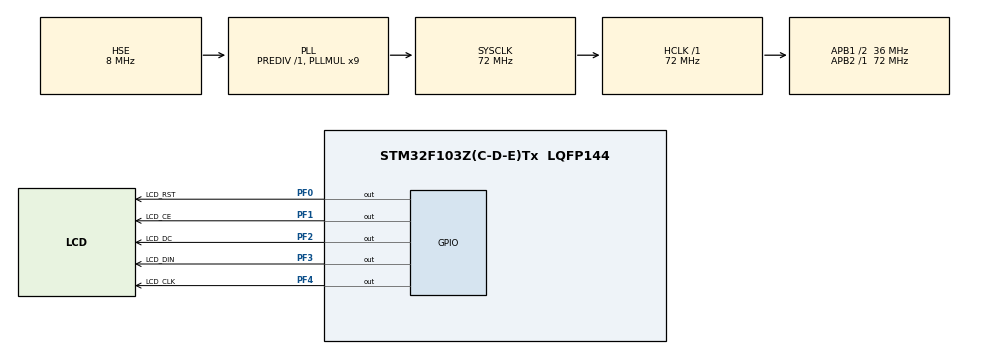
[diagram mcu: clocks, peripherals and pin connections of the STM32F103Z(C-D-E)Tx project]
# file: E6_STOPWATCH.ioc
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Mcu.Family=STM32F1
Mcu.Name=STM32F103Z(C-D-E)Tx
Mcu.Package=LQFP144
NVIC.PriorityGroup=NVIC_PRIORITYGROUP_4
OSC_IN.Mode=HSE-External-Oscillator
OSC_IN.Signal=RCC_OSC_IN
OSC_OUT.Mode=HSE-External-Oscillator
OSC_OUT.Signal=RCC_OSC_OUT
PA13.Mode=Serial_Wire
PA13.Signal=SYS_JTMS-SWDIO
PA14.Mode=Serial_Wire
PA14.Signal=SYS_JTCK-SWCLK
PC14-OSC32_IN.Mode=LSE-External-Oscillator
PC14-OSC32_IN.Signal=RCC_OSC32_IN
PC15-OSC32_OUT.Mode=LSE-External-Oscillator
PC15-OSC32_OUT.Signal=RCC_OSC32_OUT
PF0.GPIO_Label=LCD_RST
PF0.Signal=GPIO_Output
PF1.GPIO_Label=LCD_CE
PF1.Signal=GPIO_Output
PF2.GPIO_Label=LCD_DC
PF2.Signal=GPIO_Output
PF3.GPIO_Label=LCD_DIN
PF3.Signal=GPIO_Output
PF4.GPIO_Label=LCD_CLK
PF4.Signal=GPIO_Output
ProjectManager.HeapSize=0x200
ProjectManager.StackSize=0x400
ProjectManager.TargetToolchain=MDK-ARM V5.32
RCC.AHBFreq_Value=72000000
RCC.APB1CLKDivider=RCC_HCLK_DIV2
RCC.APB1Freq_Value=36000000
RCC.APB1TimFreq_Value=72000000
RCC.APB2Freq_Value=72000000
RCC.APB2TimFreq_Value=72000000
RCC.HCLKFreq_Value=72000000
RCC.PLLMUL=RCC_PLL_MUL9
RCC.PLLSourceVirtual=RCC_PLLSOURCE_HSE
RCC.SYSCLKFreq_VALUE=72000000
RCC.SYSCLKSource=RCC_SYSCLKSOURCE_PLLCLK
RCC.USBFreq_Value=72000000
board=custom

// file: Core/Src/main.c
/* USER CODE BEGIN Header */
/**
  ******************************************************************************
  * @file           : main.c
  * @brief          : Main program body
  ******************************************************************************
  * @attention
  *
  * Copyright (c) 2024 STMicroelectronics.
  * All rights reserved.
  *
  * This software is licensed under terms that can be found in the LICENSE file
  * in the root directory of this software component.
  * If no LICENSE file comes with this software, it is provided AS-IS.
  *
  ******************************************************************************
  */
/* USER CODE END Header */
#include "main.h"
#include "gpio.h"
/* USER CODE BEGIN Includes */
#include <stdio.h>
#include "font.h"
/* USER CODE END Includes */

/* USER CODE BEGIN PTD */
#define uchar unsigned char
#define uint unsigned int

/* USER CODE END PTD */

/* USER CODE BEGIN PD */
#define LCD_RST0 HAL_GPIO_WritePin(LCD_RST_GPIO_Port,LCD_RST_Pin,GPIO_PIN_RESET)
#define LCD_RST1 HAL_GPIO_WritePin(LCD_RST_GPIO_Port,LCD_RST_Pin,GPIO_PIN_SET)

#define LCD_CE0  HAL_GPIO_WritePin(LCD_CE_GPIO_Port,LCD_CE_Pin,GPIO_PIN_RESET)
#define LCD_CE1  HAL_GPIO_WritePin(LCD_CE_GPIO_Port,LCD_CE_Pin,GPIO_PIN_SET)

#define LCD_DC0  HAL_GPIO_WritePin(LCD_DC_GPIO_Port,LCD_DC_Pin,GPIO_PIN_RESET)
#define LCD_DC1  HAL_GPIO_WritePin(LCD_DC_GPIO_Port,LCD_DC_Pin,GPIO_PIN_SET)

#define LCD_DIN0 HAL_GPIO_WritePin(LCD_DIN_GPIO_Port,LCD_DIN_Pin,GPIO_PIN_RESET)
#define LCD_DIN1 HAL_GPIO_WritePin(LCD_DIN_GPIO_Port,LCD_DIN_Pin,GPIO_PIN_SET)

#define LCD_CLK0 HAL_GPIO_WritePin(LCD_CLK_GPIO_Port,LCD_CLK_Pin,GPIO_PIN_RESET)
#define LCD_CLK1 HAL_GPIO_WritePin(LCD_CLK_GPIO_Port,LCD_CLK_Pin,GPIO_PIN_SET)

/* USER CODE END PD */

/* USER CODE BEGIN PV */
uint hours = 0;
uint minutes = 0;
uint seconds = 0;

/* USER CODE END PV */

void SystemClock_Config(void);
/* USER CODE BEGIN PFP */
void LCD_WriteByte(uchar dat, uchar command);
void LCD_Clear(void);
void LCD_Init(void);
void LCD_Set_XY(uchar X, uchar Y);
void LCD_WriteString(uchar X,uchar Y,char *s);
void LCD_WriteNumber(uchar X, uchar Y, uint num, uint digits);

/* USER CODE END PFP */

/* USER CODE BEGIN 0 */
void LCD_WriteByte(uchar dat, uchar command)
{
    uchar i;
    LCD_CE0;                    // 使能芯片
    if (command == 0)           // 写命令
        LCD_DC0;
    else                        // 写数据
        LCD_DC1;

    for(i=0; i<8; i++)         // 发送一个字节
    {
        if(dat & 0x80)
            LCD_DIN1;
        else
            LCD_DIN0;
        LCD_CLK0;
        dat = dat << 1;
        LCD_CLK1;
    }
    LCD_CE1;                    // 禁止芯片
}

void LCD_Set_XY(uchar X, uchar Y)
{
    LCD_WriteByte(0x40 | Y, 0);    // Y轴地址
    LCD_WriteByte(0x80 | X, 0);    // X轴地址
}

void LCD_Clear(void)
{
    uchar i, j;
    for(i=0; i<6; i++)
    {
        LCD_Set_XY(0,i);
        for(j=0; j<84; j++)
            LCD_WriteByte(0x00, 1);
    }
}

void LCD_Init(void)
{
    LCD_RST0;                  // 复位LCD
    HAL_Delay(100);
    LCD_RST1;

    LCD_WriteByte(0x21, 0);    // 使用扩展指令集
    LCD_WriteByte(0xC8, 0);    // 设置LCD偏置电压
    LCD_WriteByte(0x06, 0);    // 温度校正
    LCD_WriteByte(0x13, 0);    // 1:48
    LCD_WriteByte(0x20, 0);    // 使用基本指令集
    LCD_WriteByte(0x0C, 0);    // 普通模式显示

    LCD_Clear();               // 清屏
}

void LCD_WriteChar(uchar x, uchar y, uchar c)
{
    uchar i;
    c -= 32;
    LCD_Set_XY(x, y);
    for(i=0; i<6; i++)
    {
        LCD_WriteByte(ASCII[c][i], 1);
    }
}

void LCD_WriteString(uchar X, uchar Y, char *s)
{
    while(*s)
    {
        LCD_WriteChar(X, Y, *s);
        s++;
        X += 6;
    }
}

void LCD_WriteNumber(uchar X, uchar Y, uint num, uint digits)
{
    char buffer[10];
    sprintf(buffer, "%0*u", digits, num);
    LCD_WriteString(X, Y, buffer);
}

/* USER CODE END 0 */

int main(void)
{

  /* MCU Configuration--------------------------------------------------------*/

  /* Reset of all peripherals, Initializes the Flash interface and the Systick. */
  HAL_Init();

  /* Configure the system clock */
  SystemClock_Config();

  /* Initialize all configured peripherals */
  MX_GPIO_Init();
  /* USER CODE BEGIN 2 */
  LCD_Init();
  HAL_Delay(100);

  /* USER CODE END 2 */

  /* Infinite loop */
  while (1)
  {

    /* USER CODE BEGIN 3 */
	  LCD_Clear();
    LCD_WriteString(0, 0, "Time:");
    LCD_WriteNumber(0, 1, hours, 2);
    LCD_WriteString(12, 1, ":");
    LCD_WriteNumber(18, 1, minutes, 2);
    LCD_WriteString(30, 1, ":");
    LCD_WriteNumber(36, 1, seconds, 2);

    seconds++;
    if (seconds >= 60)
    {
        seconds = 0;
        minutes++;
        if (minutes >= 60)
        {
            minutes = 0;
            hours++;
            if (hours >= 24)
            {
                hours = 0;
            }
        }
    }
    HAL_Delay(1000); // 延时1秒
  }

  /* USER CODE END 3 */
	}

void SystemClock_Config(void)
{
  RCC_OscInitTypeDef RCC_OscInitStruct = {0};
  RCC_ClkInitTypeDef RCC_ClkInitStruct = {0};

  /** Initializes the RCC Oscillators according to the specified parameters
  * in the RCC_OscInitTypeDef structure.
  */
  RCC_OscInitStruct.OscillatorType = RCC_OSCILLATORTYPE_HSE;
  RCC_OscInitStruct.HSEState = RCC_HSE_ON;
  RCC_OscInitStruct.HSEPredivValue = RCC_HSE_PREDIV_DIV1;
  RCC_OscInitStruct.HSIState = RCC_HSI_ON;
  RCC_OscInitStruct.PLL.PLLState = RCC_PLL_ON;
  RCC_OscInitStruct.PLL.PLLSource = RCC_PLLSOURCE_HSE;
  RCC_OscInitStruct.PLL.PLLMUL = RCC_PLL_MUL9;
  if (HAL_RCC_OscConfig(&RCC_OscInitStruct) != HAL_OK)
  {
    Error_Handler();
  }

  /** Initializes the CPU, AHB and APB buses clocks
  */
  RCC_ClkInitStruct.ClockType = RCC_CLOCKTYPE_HCLK|RCC_CLOCKTYPE_SYSCLK
                              |RCC_CLOCKTYPE_PCLK1|RCC_CLOCKTYPE_PCLK2;
  RCC_ClkInitStruct.SYSCLKSource = RCC_SYSCLKSOURCE_PLLCLK;
  RCC_ClkInitStruct.AHBCLKDivider = RCC_SYSCLK_DIV1;
  RCC_ClkInitStruct.APB1CLKDivider = RCC_HCLK_DIV2;
  RCC_ClkInitStruct.APB2CLKDivider = RCC_HCLK_DIV1;

  if (HAL_RCC_ClockConfig(&RCC_ClkInitStruct, FLASH_LATENCY_2) != HAL_OK)
  {
    Error_Handler();
  }
}

void Error_Handler(void)
{
  __disable_irq();
  while (1)
  {
  }
}
